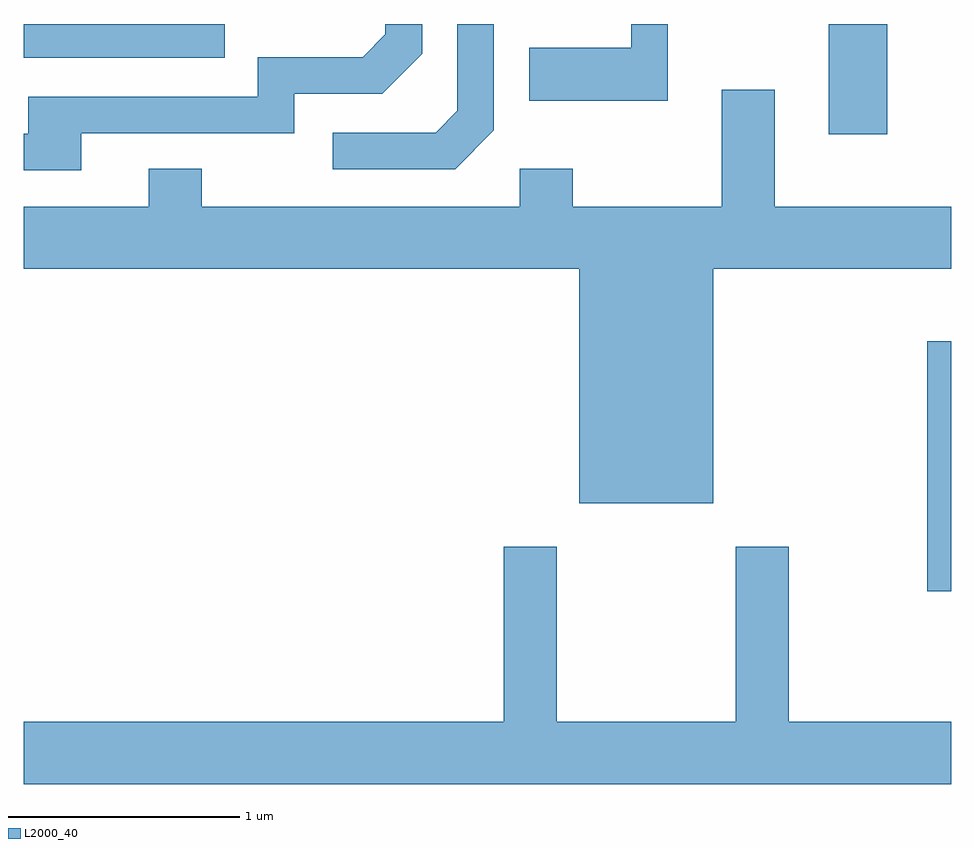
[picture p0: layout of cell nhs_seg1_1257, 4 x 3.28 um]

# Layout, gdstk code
import gdstk
lib = gdstk.Library(unit=1e-6, precision=1e-09)
def R(c, l, rs):  # rectangles x0, y0, x1, y1
    for r in rs: c.add(gdstk.rectangle(r[:2], r[2:], *l))
def P(c, l, *ps):  # polygons
    for p in ps: c.add(gdstk.Polygon(p, *l))
L2000_40 = (2000, 40)

nhs_seg1_1257 = lib.new_cell('nhs_seg1_1257')
R(nhs_seg1_1257, L2000_40, [(227.506,929.266,227.611,930.344), (227.081,931.236,227.334,931.712), (223.611,931.566,224.478,931.712)])
P(nhs_seg1_1257, L2000_40, [(225.639,931.254),(225.639,931.712),(225.481,931.712),(225.481,931.337),(225.389,931.244),(224.943,931.244),(224.943,931.086),(225.472,931.086)],
  [(223.859,931.241),(224.779,931.241),(224.779,931.411),(225.157,931.411),(225.329,931.584),(225.329,931.712),(225.171,931.712),(225.171,931.667),(225.074,931.569),(224.621,931.569),(224.621,931.399),(223.631,931.399),(223.631,931.239),(223.611,931.239),(223.611,931.081),(223.859,931.081)],
  [(226.389,931.712),(226.231,931.712),(226.231,931.609),(225.791,931.609),(225.791,931.381),(226.389,931.381)],
  [(226.584,930.656),(227.611,930.656),(227.611,930.924),(226.849,930.924),(226.849,931.429),(226.621,931.429),(226.621,930.924),(225.979,930.924),(225.979,931.089),(225.751,931.089),(225.751,930.924),(224.379,930.924),(224.379,931.089),(224.151,931.089),(224.151,930.924),(223.611,930.924),(223.611,930.656),(226.006,930.656),(226.006,929.646),(226.584,929.646)],
  [(227.611,928.704),(226.909,928.704),(226.909,929.459),(226.681,929.459),(226.681,928.704),(225.909,928.704),(225.909,929.459),(225.681,929.459),(225.681,928.704),(223.611,928.704),(223.611,928.436),(227.611,928.436)])

lib.write_gds('nhs_seg1_1257.gds')
